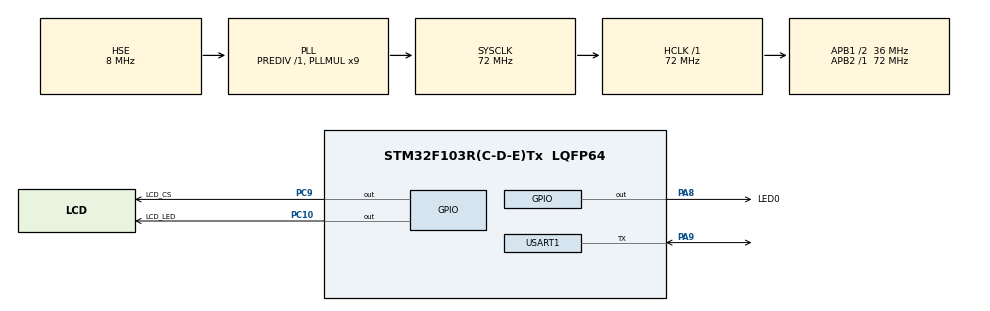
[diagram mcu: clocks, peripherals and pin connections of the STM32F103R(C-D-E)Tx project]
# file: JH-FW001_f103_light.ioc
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Mcu.Family=STM32F1
Mcu.Name=STM32F103R(C-D-E)Tx
Mcu.Package=LQFP64
NVIC.PriorityGroup=NVIC_PRIORITYGROUP_4
PA13.Mode=Trace_Asynchronous_SW
PA13.Signal=SYS_JTMS-SWDIO
PA14.Mode=Trace_Asynchronous_SW
PA14.Signal=SYS_JTCK-SWCLK
PA8.GPIO_Label=LED0
PA8.GPIO_ModeDefaultOutputPP=GPIO_MODE_OUTPUT_OD
PA8.GPIO_PuPd=GPIO_NOPULL
PA8.Signal=GPIO_Output
PA9.Mode=Half_duplex(single_wire_mode)
PA9.Signal=USART1_TX
PB3.Mode=Trace_Asynchronous_SW
PB3.Signal=SYS_JTDO-TRACESWO
PC10.GPIO_Label=LCD_LED
PC10.GPIO_Speed=GPIO_SPEED_FREQ_LOW
PC10.PinState=GPIO_PIN_RESET
PC10.Signal=GPIO_Output
PC14-OSC32_IN.Mode=LSE-External-Oscillator
PC14-OSC32_IN.Signal=RCC_OSC32_IN
PC15-OSC32_OUT.Mode=LSE-External-Oscillator
PC15-OSC32_OUT.Signal=RCC_OSC32_OUT
PC9.GPIO_Label=LCD_CS
PC9.GPIO_ModeDefaultOutputPP=GPIO_MODE_OUTPUT_OD
PC9.GPIO_PuPd=GPIO_PULLUP
PC9.PinState=GPIO_PIN_RESET
PC9.Signal=GPIO_Output
PD0-OSC_IN.Mode=HSE-External-Oscillator
PD0-OSC_IN.Signal=RCC_OSC_IN
PD1-OSC_OUT.Mode=HSE-External-Oscillator
PD1-OSC_OUT.Signal=RCC_OSC_OUT
ProjectManager.HeapSize=0x200
ProjectManager.StackSize=0x400
ProjectManager.TargetToolchain=STM32CubeIDE
RCC.AHBFreq_Value=72000000
RCC.APB1CLKDivider=RCC_HCLK_DIV2
RCC.APB1Freq_Value=36000000
RCC.APB1TimFreq_Value=72000000
RCC.APB2Freq_Value=72000000
RCC.APB2TimFreq_Value=72000000
RCC.HCLKFreq_Value=72000000
RCC.PLLMUL=RCC_PLL_MUL9
RCC.PLLSourceVirtual=RCC_PLLSOURCE_HSE
RCC.SYSCLKFreq_VALUE=72000000
RCC.SYSCLKSource=RCC_SYSCLKSOURCE_PLLCLK
RCC.USBFreq_Value=72000000
USART1.VirtualMode=VM_ASYNC
board=custom

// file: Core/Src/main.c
/* USER CODE BEGIN Header */
/**
  ******************************************************************************
  * @file           : main.c
  * @brief          : Main program body
  ******************************************************************************
  * @attention
  *
  * Copyright (c) 2023 STMicroelectronics.
  * All rights reserved.
  *
  * This software is licensed under terms that can be found in the LICENSE file
  * in the root directory of this software component.
  * If no LICENSE file comes with this software, it is provided AS-IS.
  *
  ******************************************************************************
  */
/* USER CODE END Header */
#include "main.h"
#include "usart.h"
#include "gpio.h"

/* USER CODE BEGIN Includes */
#include "lcd.h"
/* USER CODE END Includes */

void SystemClock_Config(void);

int main(void)
{

  /* MCU Configuration--------------------------------------------------------*/

  /* Reset of all peripherals, Initializes the Flash interface and the Systick. */
  HAL_Init();

  /* Configure the system clock */
  SystemClock_Config();

  /* Initialize all configured peripherals */
  MX_GPIO_Init();
  MX_USART1_UART_Init();
  /* USER CODE BEGIN 2 */
  LCD_Init();
  HAL_GPIO_WritePin(LCD_CS_GPIO_Port, LCD_CS_Pin, GPIO_PIN_SET);
  printf("send msg is ok! \r\n");
  /* USER CODE END 2 */

  /* Infinite loop */
  while (1)
  {

    /* USER CODE BEGIN 3 */
    uint8_t x=0;
	  uint8_t lcd_id[12];						//存放LCD ID字符�?

    // HAL_Init();                    	 	//初始化HAL�?
    // Stm32_Clock_Init(RCC_PLL_MUL9);   	//设置时钟,72M
    // delay_init(72);               		//初始化延时函�?
    // uart_init(115200);					//初始化串�?
    // LED_Init();							//初始化LED
    POINT_COLOR=RED;
    sprintf((char*)lcd_id,"LCD ID:%04X",lcddev.id);//将LCD ID打印到lcd_id数组�?
    while(1)
    {
      switch(x)
      {
        case 0:LCD_Clear(WHITE);break;
        case 1:LCD_Clear(BLACK);break;
        case 2:LCD_Clear(BLUE);break;
        case 3:LCD_Clear(RED);break;
        case 4:LCD_Clear(MAGENTA);break;
        case 5:LCD_Clear(GREEN);break;
        case 6:LCD_Clear(CYAN);break;
        case 7:LCD_Clear(YELLOW);break;
        case 8:LCD_Clear(BRRED);break;
        case 9:LCD_Clear(GRAY);break;
        case 10:LCD_Clear(LGRAY);break;
        case 11:LCD_Clear(BROWN);break;
      }
      POINT_COLOR=RED;
      LCD_ShowString(30,40,200,24,24,"Mini STM32 ^_^");
      LCD_ShowString(30,70,200,16,16,"TFTLCD TEST");
      LCD_ShowString(30,90,200,16,16,"ATOM@ALIENTEK");
      LCD_ShowString(30,110,200,16,16,lcd_id);		//显示LCD ID
      LCD_ShowString(30,130,200,12,12,"2019/11/15");
      x++;
      if(x==12)x=0;
      HAL_GPIO_TogglePin(LED0_GPIO_Port, LED0_Pin);
      HAL_Delay(1000);
    }
  }
  /* USER CODE END 3 */
}

void SystemClock_Config(void)
{
  RCC_OscInitTypeDef RCC_OscInitStruct = {0};
  RCC_ClkInitTypeDef RCC_ClkInitStruct = {0};

  /** Initializes the RCC Oscillators according to the specified parameters
  * in the RCC_OscInitTypeDef structure.
  */
  RCC_OscInitStruct.OscillatorType = RCC_OSCILLATORTYPE_HSE;
  RCC_OscInitStruct.HSEState = RCC_HSE_ON;
  RCC_OscInitStruct.HSEPredivValue = RCC_HSE_PREDIV_DIV1;
  RCC_OscInitStruct.HSIState = RCC_HSI_ON;
  RCC_OscInitStruct.PLL.PLLState = RCC_PLL_ON;
  RCC_OscInitStruct.PLL.PLLSource = RCC_PLLSOURCE_HSE;
  RCC_OscInitStruct.PLL.PLLMUL = RCC_PLL_MUL9;
  if (HAL_RCC_OscConfig(&RCC_OscInitStruct) != HAL_OK)
  {
    Error_Handler();
  }

  /** Initializes the CPU, AHB and APB buses clocks
  */
  RCC_ClkInitStruct.ClockType = RCC_CLOCKTYPE_HCLK|RCC_CLOCKTYPE_SYSCLK
                              |RCC_CLOCKTYPE_PCLK1|RCC_CLOCKTYPE_PCLK2;
  RCC_ClkInitStruct.SYSCLKSource = RCC_SYSCLKSOURCE_PLLCLK;
  RCC_ClkInitStruct.AHBCLKDivider = RCC_SYSCLK_DIV1;
  RCC_ClkInitStruct.APB1CLKDivider = RCC_HCLK_DIV2;
  RCC_ClkInitStruct.APB2CLKDivider = RCC_HCLK_DIV1;

  if (HAL_RCC_ClockConfig(&RCC_ClkInitStruct, FLASH_LATENCY_2) != HAL_OK)
  {
    Error_Handler();
  }
}

void Error_Handler(void)
{
  __disable_irq();
  while (1)
  {
  }
}
